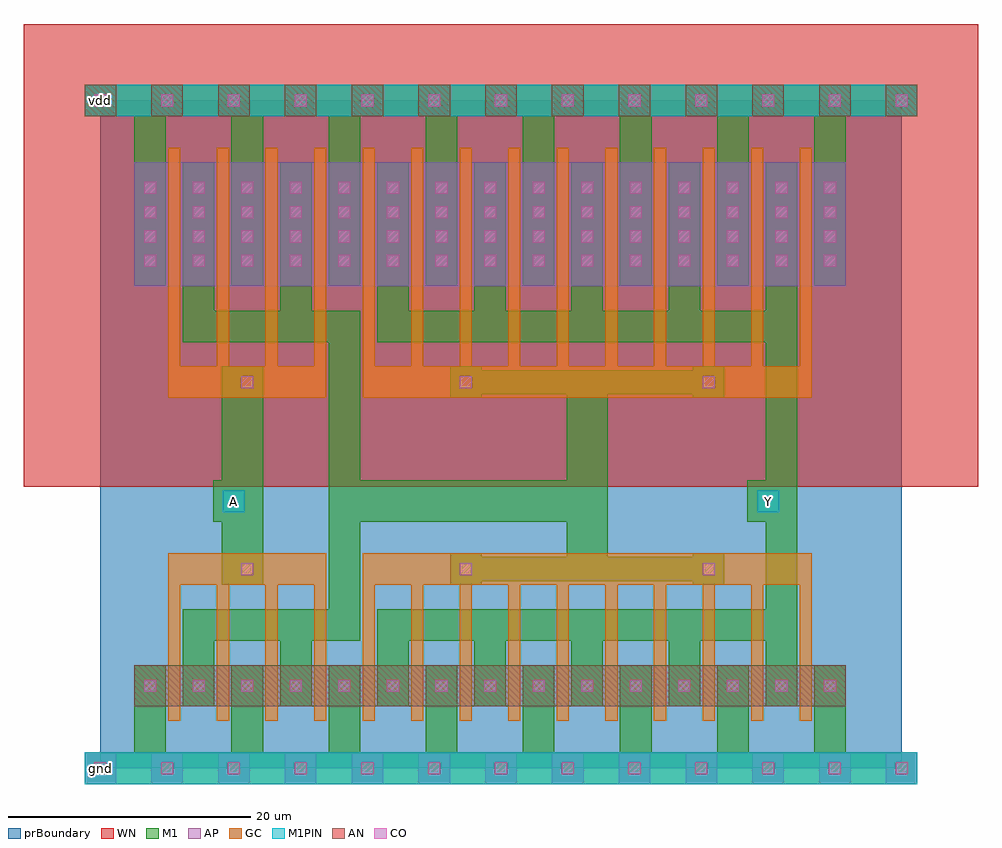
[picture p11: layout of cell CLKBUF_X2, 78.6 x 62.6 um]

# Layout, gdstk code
import gdstk
lib = gdstk.Library(unit=1e-6, precision=1e-09)
def R(c, l, rs):  # rectangles x0, y0, x1, y1
    for r in rs: c.add(gdstk.rectangle(r[:2], r[2:], *l))
def A(c, l, x, y, w, h, nx, ny, dx, dy):  # array of equal rectangles
    R(c, l, [(x+i*dx, y+j*dy, x+i*dx+w, y+j*dy+h) for i in range(nx) for j in range(ny)])
def P(c, l, *ps):  # polygons
    for p in ps: c.add(gdstk.Polygon(p, *l))
AP = (3, 1)
AN = (3, 2)
GC = (8, 1)
CO = (11, 0)
M1 = (13, 0)
M1PIN = (48, 1)
WN = (140, 0)
prBoundary = (235, 0)

clkbuf_x2 = lib.new_cell('CLKBUF_X2')
A(clkbuf_x2, AP, -1.3, -1.3, 2.6, 2.6, 13, 1, 5.5, 0)
R(clkbuf_x2, AP, [(2.8,39.7,61.4,49.9), (2.8,39.7,61.4,49.9)])
A(clkbuf_x2, AN, -1.3, 53.7, 2.6, 2.6, 13, 1, 5.5, 0)
R(clkbuf_x2, AN, [(2.8,5.1,61.4,8.5)])
P(clkbuf_x2, GC, [(5.6,3.9),(5.6,17.7),(18.6,17.7),(18.6,3.9),(17.6,3.9),(17.6,15.1),(14.6,15.1),(14.6,3.9),(13.6,3.9),(13.6,15.1),(10.6,15.1),(10.6,3.9),(9.6,3.9),(9.6,15.1),(6.6,15.1),(6.6,3.9)],
  [(21.6,3.9),(21.6,17.7),(58.6,17.7),(58.6,3.9),(57.6,3.9),(57.6,15.1),(54.6,15.1),(54.6,3.9),(53.6,3.9),(53.6,15.1),(50.6,15.1),(50.6,3.9),(49.6,3.9),(49.6,15.1),(46.6,15.1),(46.6,3.9),(45.6,3.9),(45.6,15.1),(42.6,15.1),(42.6,3.9),(41.6,3.9),(41.6,15.1),(38.6,15.1),(38.6,3.9),(37.6,3.9),(37.6,15.1),(34.6,15.1),(34.6,3.9),(33.6,3.9),(33.6,15.1),(30.6,15.1),(30.6,3.9),(29.6,3.9),(29.6,15.1),(26.6,15.1),(26.6,3.9),(25.6,3.9),(25.6,15.1),(22.6,15.1),(22.6,3.9)],
  [(5.6,30.5),(5.6,51.1),(6.6,51.1),(6.6,33.1),(9.6,33.1),(9.6,51.1),(10.6,51.1),(10.6,33.1),(13.6,33.1),(13.6,51.1),(14.6,51.1),(14.6,33.1),(17.6,33.1),(17.6,51.1),(18.6,51.1),(18.6,30.5)],
  [(21.6,30.5),(21.6,51.1),(22.6,51.1),(22.6,33.1),(25.6,33.1),(25.6,51.1),(26.6,51.1),(26.6,33.1),(29.6,33.1),(29.6,51.1),(30.6,51.1),(30.6,33.1),(33.6,33.1),(33.6,51.1),(34.6,51.1),(34.6,33.1),(37.6,33.1),(37.6,51.1),(38.6,51.1),(38.6,33.1),(41.6,33.1),(41.6,51.1),(42.6,51.1),(42.6,33.1),(45.6,33.1),(45.6,51.1),(46.6,51.1),(46.6,33.1),(49.6,33.1),(49.6,51.1),(50.6,51.1),(50.6,33.1),(53.6,33.1),(53.6,51.1),(54.6,51.1),(54.6,33.1),(57.6,33.1),(57.6,51.1),(58.6,51.1),(58.6,30.5)])
A(clkbuf_x2, CO, -0.5, -0.5, 1, 1, 13, 2, 5.5, 55)
A(clkbuf_x2, CO, 3.6, 6.3, 1, 1, 5, 2, 4, 35)
A(clkbuf_x2, CO, 19.6, 6.3, 1, 1, 11, 2, 4, 35)
A(clkbuf_x2, CO, 3.6, 43.3, 1, 1, 5, 3, 4, 2)
A(clkbuf_x2, CO, 19.6, 43.3, 1, 1, 11, 3, 4, 2)
R(clkbuf_x2, CO, [(11.6,15.9,12.6,16.9), (29.6,15.9,30.6,16.9), (49.6,15.9,50.6,16.9), (11.6,31.3,12.6,32.3), (29.6,31.3,30.6,32.3), (49.6,31.3,50.6,32.3)])
P(clkbuf_x2, M1, [(-1.3,-1.3),(-1.3,1.3),(2.8,1.3),(2.8,8.5),(5.4,8.5),(5.4,1.3),(10.8,1.3),(10.8,8.5),(13.4,8.5),(13.4,1.3),(18.8,1.3),(18.8,8.5),(21.4,8.5),(21.4,1.3),(26.8,1.3),(26.8,8.5),(29.4,8.5),(29.4,1.3),(34.8,1.3),(34.8,8.5),(37.4,8.5),(37.4,1.3),(42.8,1.3),(42.8,8.5),(45.4,8.5),(45.4,1.3),(50.8,1.3),(50.8,8.5),(53.4,8.5),(53.4,1.3),(58.8,1.3),(58.8,8.5),(61.4,8.5),(61.4,1.3),(67.3,1.3),(67.3,-1.3)],
  [(10,15.1),(10,20.3),(9.3,20.3),(9.3,23.7),(10,23.7),(10,33.1),(13.4,33.1),(13.4,15.1)],
  [(6.8,5.1),(6.8,13.1),(18.8,13.1),(18.8,35.1),(6.8,35.1),(6.8,49.9),(9.4,49.9),(9.4,37.7),(14.8,37.7),(14.8,49.9),(17.4,49.9),(17.4,37.7),(21.4,37.7),(21.4,23.7),(38.4,23.7),(38.4,30.8),(31.4,30.8),(31.4,30.5),(28.8,30.5),(28.8,33.1),(31.4,33.1),(31.4,32.8),(48.8,32.8),(48.8,33.1),(51.4,33.1),(51.4,30.5),(48.8,30.5),(48.8,30.8),(41.8,30.8),(41.8,17.4),(48.8,17.4),(48.8,17.7),(51.4,17.7),(51.4,15.1),(48.8,15.1),(48.8,15.4),(31.4,15.4),(31.4,15.1),(28.8,15.1),(28.8,17.7),(31.4,17.7),(31.4,17.4),(38.4,17.4),(38.4,20.3),(21.4,20.3),(21.4,10.5),(17.4,10.5),(17.4,5.1),(14.8,5.1),(14.8,10.5),(9.4,10.5),(9.4,5.1)],
  [(22.8,5.1),(22.8,13.1),(54.8,13.1),(54.8,20.3),(53.3,20.3),(53.3,23.7),(54.8,23.7),(54.8,35.1),(22.8,35.1),(22.8,49.9),(25.4,49.9),(25.4,37.7),(30.8,37.7),(30.8,49.9),(33.4,49.9),(33.4,37.7),(38.8,37.7),(38.8,49.9),(41.4,49.9),(41.4,37.7),(46.8,37.7),(46.8,49.9),(49.4,49.9),(49.4,37.7),(54.8,37.7),(54.8,49.9),(57.4,49.9),(57.4,5.1),(54.8,5.1),(54.8,10.5),(49.4,10.5),(49.4,5.1),(46.8,5.1),(46.8,10.5),(41.4,10.5),(41.4,5.1),(38.8,5.1),(38.8,10.5),(33.4,10.5),(33.4,5.1),(30.8,5.1),(30.8,10.5),(25.4,10.5),(25.4,5.1)],
  [(2.8,39.7),(2.8,53.7),(-1.3,53.7),(-1.3,56.3),(67.3,56.3),(67.3,53.7),(61.4,53.7),(61.4,39.7),(58.8,39.7),(58.8,53.7),(53.4,53.7),(53.4,39.7),(50.8,39.7),(50.8,53.7),(45.4,53.7),(45.4,39.7),(42.8,39.7),(42.8,53.7),(37.4,53.7),(37.4,39.7),(34.8,39.7),(34.8,53.7),(29.4,53.7),(29.4,39.7),(26.8,39.7),(26.8,53.7),(21.4,53.7),(21.4,39.7),(18.8,39.7),(18.8,53.7),(13.4,53.7),(13.4,39.7),(10.8,39.7),(10.8,53.7),(5.4,53.7),(5.4,39.7)])
R(clkbuf_x2, M1PIN, [(-1.3,-1.3,67.3,1.3), (10.1,21.1,11.9,22.9), (54.1,21.1,55.9,22.9), (-1.3,53.7,67.3,56.3)])
R(clkbuf_x2, WN, [(-6.3,23.2,72.3,61.3)])
R(clkbuf_x2, prBoundary, [(0,0,66,55)])
clkbuf_x2.add(gdstk.Label('gnd', (0,0), layer=48, texttype=0))
clkbuf_x2.add(gdstk.Label('A', (11,22), layer=48, texttype=0))
clkbuf_x2.add(gdstk.Label('Y', (55,22), layer=48, texttype=0))
clkbuf_x2.add(gdstk.Label('vdd', (0,55), layer=48, texttype=0))

lib.write_gds('CLKBUF_X2.gds')
